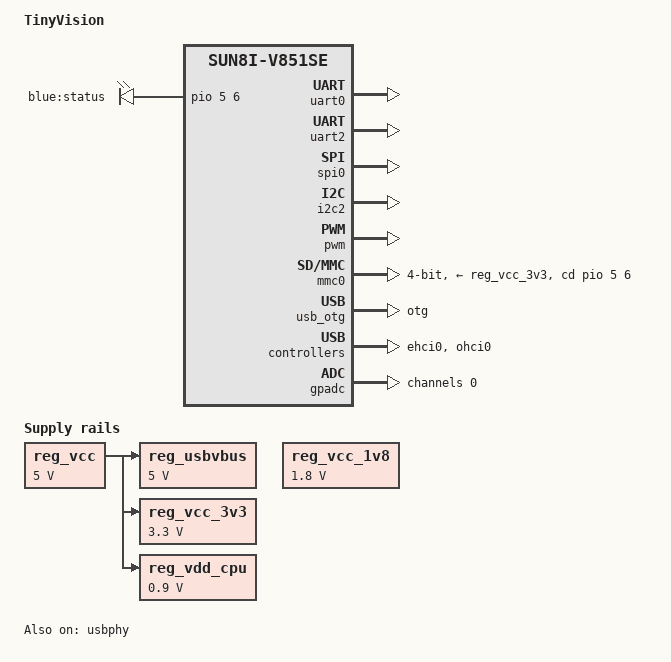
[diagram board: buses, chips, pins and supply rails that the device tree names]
// SPDX-License-Identifier: (GPL-2.0+ or MIT)
// Copyright (C) 2022 Samuel Holland <samuel@sholland.org>

/dts-v1/;

#include <dt-bindings/gpio/gpio.h>
#include <dt-bindings/leds/common.h>
#include "sun8i-v851s.dtsi"

/ {
	model = "TinyVision";
	compatible = "allwinner,sun8i-v851se", "allwinner,sun8i";

	aliases {
		serial0 = &uart0;
	};

	chosen {
		stdout-path = "serial0:115200n8"; 
		bootargs = "mem=64M cma=4M root=/dev/mmcblk0p2 init=/sbin/init console=ttyS0,115200 earlyprintk=sunxi-uart,0x02500000 rootwait clk_ignore_unused";
	};

	reg_vcc: vcc {
		compatible = "regulator-fixed";
		regulator-name = "vcc";
		regulator-min-microvolt = <5000000>;
		regulator-max-microvolt = <5000000>;
	};

	reg_vcc_1v8: vcc-1v8 {
		compatible = "regulator-fixed";
		regulator-name = "vcc-1v8";
		regulator-min-microvolt = <1800000>;
		regulator-max-microvolt = <1800000>;
	};

	reg_usbvbus: usbvbus {
		compatible = "regulator-fixed";
		regulator-name = "usbvbus";
		regulator-min-microvolt = <5000000>;
		regulator-max-microvolt = <5000000>;
		vin-supply = <&reg_vcc>;
	};

	reg_vcc_3v3: vcc-3v3 {
		compatible = "regulator-fixed";
		regulator-name = "vcc-3v3";
		regulator-min-microvolt = <3300000>;
		regulator-max-microvolt = <3300000>;
		vin-supply = <&reg_vcc>;
	};

	reg_vdd_cpu: vdd-cpu {
		compatible = "regulator-fixed";
		regulator-name = "vdd-cpu";
		regulator-min-microvolt = <900000>;
		regulator-max-microvolt = <900000>;
		vin-supply = <&reg_vcc>;
	};


	leds {
		compatible = "gpio-leds";
		status_led {
			linux,default-trigger = "heartbeat";
			label = "blue:status";
			gpios = <&pio 5 6 GPIO_ACTIVE_HIGH>;
        };
    };
};

&cpu0 {
	cpu-supply = <&reg_vdd_cpu>;
};

&pio {

	vcc-pa-supply = <&reg_vcc_3v3>;
	vcc-pc-supply = <&reg_vcc_3v3>;
	vcc-pd-supply = <&reg_vcc_3v3>;
	vcc-pe-supply = <&reg_vcc_3v3>;
	vcc-pf-supply = <&reg_vcc_3v3>;
	vcc-ph-supply = <&reg_vcc_3v3>;
};

&uart0 {
	pinctrl-0 = <&uart0_ph9_pins>;
	pinctrl-names = "default";
	status = "okay";
};

&uart2 {
	pinctrl-0 = <&uart2_pe12_pins>;
	pinctrl-names = "default";
	status = "okay";
};

&spi0 {
	pinctrl-0 = <&spi0_pins>;
	pinctrl-names = "default";
	status = "okay";
};

&i2c2 {
	pinctrl-0 = <&i2c2_ph11_pins>;
	pinctrl-names = "default";
	status = "okay";
};

&pwm {
	pinctrl-0 = <&pwm_ph0_pin>;
	pinctrl-names = "default";
	status = "okay";
};

&mmc0 {
	bus-width = <4>;
	cd-gpios = <&pio 5 6 (GPIO_ACTIVE_HIGH)>;
	disable-wp;
	vmmc-supply = <&reg_vcc_3v3>;
	vqmmc-supply = <&reg_vcc_3v3>;
	pinctrl-0 = <&mmc0_pins>;
	pinctrl-names = "default";
	status = "okay";
};

&mmc1 {
	bus-width = <4>;
	non-removable;
	vmmc-supply = <&reg_vcc_3v3>;
	vqmmc-supply = <&reg_vcc_3v3>;
	pinctrl-0 = <&mmc1_pins>;
	pinctrl-names = "default";
	status = "disabled";
};

&usb_otg {
	dr_mode = "otg";
	status = "okay";
};

&ehci0 {
	status = "okay";
};

&ohci0 {
	status = "okay";
};

&usbphy {
	usb0_vbus-supply = <&reg_usbvbus>;
	usb1_vbus-supply = <&reg_usbvbus>;
	status = "okay";
};

&gpadc {
	status = "okay";

	#address-cells = <1>;
	#size-cells = <0>;

	channel@0 {
		reg = <0>;
	};
};
